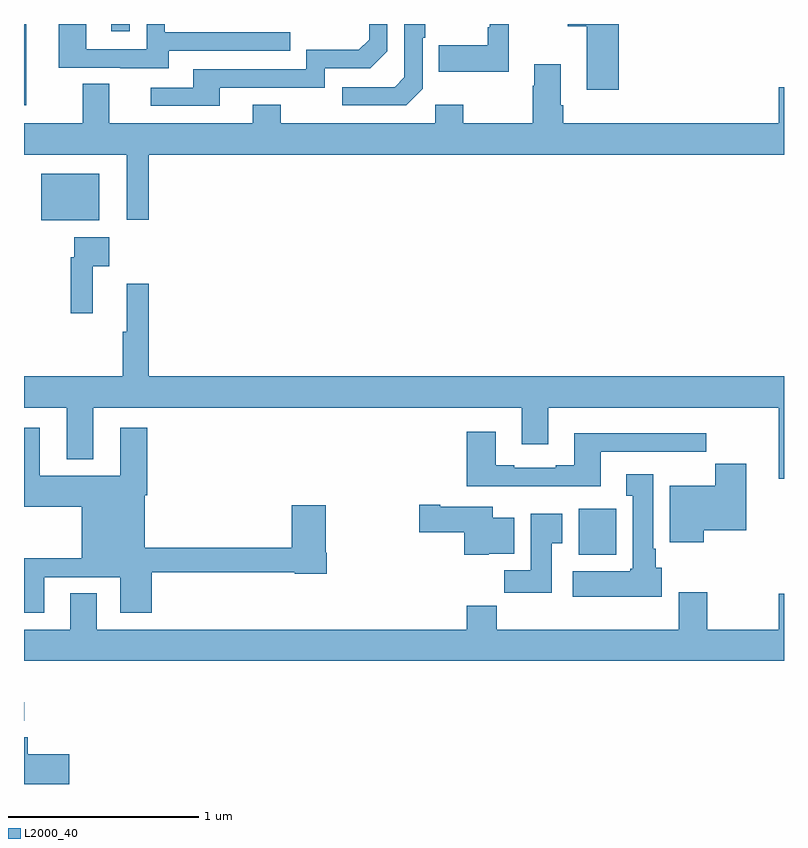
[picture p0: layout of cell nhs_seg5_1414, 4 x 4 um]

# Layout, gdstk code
import gdstk
lib = gdstk.Library(unit=1e-6, precision=1e-09)
def R(c, l, rs):  # rectangles x0, y0, x1, y1
    for r in rs: c.add(gdstk.rectangle(r[:2], r[2:], *l))
def P(c, l, *ps):  # polygons
    for p in ps: c.add(gdstk.Polygon(p, *l))
L2000_40 = (2000, 40)

nhs_seg5_1414 = lib.new_cell('nhs_seg5_1414')
R(nhs_seg5_1414, L2000_40, [(197,835.131,197.002,835.23), (199.919,836.006,200.116,836.248), (197.09,837.767,197.395,838.012), (197,838.371,197.011,838.799), (197.459,838.761,197.556,838.799)])
P(nhs_seg5_1414, L2000_40, [(199.098,838.458),(199.098,838.727),(199.111,838.727),(199.111,838.799),(199.002,838.799),(199.002,838.518),(198.951,838.467),(198.675,838.467),(198.675,838.371),(199.011,838.371)],
  [(197.761,838.659),(198.401,838.659),(198.401,838.755),(197.742,838.755),(197.742,838.799),(197.646,838.799),(197.646,838.665),(197.328,838.665),(197.328,838.799),(197.183,838.799),(197.183,838.569),(197.507,838.569),(197.507,838.565),(197.761,838.565)],
  [(200.129,838.799),(199.862,838.799),(199.862,838.787),(199.961,838.787),(199.961,838.452),(200.129,838.452)],
  [(198.031,838.464),(198.582,838.464),(198.582,838.566),(198.822,838.566),(198.912,838.656),(198.912,838.799),(198.816,838.799),(198.816,838.716),(198.763,838.663),(198.486,838.663),(198.486,838.56),(197.891,838.56),(197.891,838.464),(197.667,838.464),(197.667,838.368),(198.031,838.368)],
  [(199.55,838.799),(199.452,838.799),(199.452,838.783),(199.44,838.783),(199.44,838.687),(199.183,838.687),(199.183,838.547),(199.55,838.547)],
  [(197.657,838.112),(201,838.112),(201,838.465),(200.972,838.465),(200.972,838.276),(199.838,838.276),(199.838,838.372),(199.825,838.372),(199.825,838.588),(199.685,838.588),(199.685,838.475),(199.678,838.475),(199.678,838.276),(199.311,838.276),(199.311,838.375),(199.164,838.375),(199.164,838.276),(198.351,838.276),(198.351,838.375),(198.203,838.375),(198.203,838.276),(197.449,838.276),(197.449,838.484),(197.309,838.484),(197.309,838.276),(197,838.276),(197,838.112),(197.54,838.112),(197.54,837.768),(197.657,837.768)],
  [(197.363,837.524),(197.449,837.524),(197.449,837.676),(197.265,837.676),(197.265,837.572),(197.245,837.572),(197.245,837.276),(197.363,837.276)],
  [(201,836.944),(197.657,836.944),(197.657,837.433),(197.54,837.433),(197.54,837.18),(197.521,837.18),(197.521,836.944),(197,836.944),(197,836.78),(197.225,836.78),(197.225,836.507),(197.365,836.507),(197.365,836.78),(199.619,836.78),(199.619,836.586),(199.759,836.586),(199.759,836.78),(200.972,836.78),(200.972,836.406),(201,836.406)],
  [(197.107,835.887),(197.507,835.887),(197.507,835.701),(197.672,835.701),(197.672,835.914),(198.426,835.914),(198.426,835.906),(198.593,835.906),(198.593,836.017),(198.588,836.017),(198.588,836.266),(198.41,836.266),(198.41,836.042),(197.635,836.042),(197.635,836.318),(197.648,836.318),(197.648,836.674),(197.507,836.674),(197.507,836.422),(197.083,836.422),(197.083,836.674),(197,836.674),(197,836.258),(197.303,836.258),(197.303,835.988),(197,835.988),(197,835.701),(197.107,835.701)],
  [(200.035,836.547),(200.483,836.547),(200.483,836.549),(200.592,836.549),(200.592,836.644),(199.895,836.644),(199.895,836.476),(199.799,836.476),(199.799,836.463),(199.579,836.463),(199.579,836.476),(199.483,836.476),(199.483,836.653),(199.331,836.653),(199.331,836.366),(200.035,836.366)],
  [(200.578,836.135),(200.8,836.135),(200.8,836.484),(200.639,836.484),(200.639,836.368),(200.399,836.368),(200.399,836.072),(200.578,836.072)],
  [(200.356,835.938),(200.326,835.938),(200.326,836.038),(200.311,836.038),(200.311,836.428),(200.171,836.428),(200.171,836.315),(200.204,836.315),(200.204,835.932),(200.191,835.932),(200.191,835.918),(199.887,835.918),(199.887,835.784),(200.356,835.784)],
  [(199.446,836.012),(199.579,836.012),(199.579,836.2),(199.468,836.2),(199.468,836.257),(199.192,836.257),(199.192,836.27),(199.08,836.27),(199.08,836.123),(199.316,836.123),(199.316,836.006),(199.446,836.006)],
  [(199.777,836.065),(199.834,836.065),(199.834,836.221),(199.667,836.221),(199.667,835.924),(199.528,835.924),(199.528,835.806),(199.777,835.806)],
  [(201,835.801),(200.972,835.801),(200.972,835.612),(200.595,835.612),(200.595,835.807),(200.447,835.807),(200.447,835.612),(199.487,835.612),(199.487,835.736),(199.331,835.736),(199.331,835.612),(197.383,835.612),(197.383,835.802),(197.243,835.802),(197.243,835.612),(197,835.612),(197,835.448),(201,835.448)],
  [(197.239,834.956),(197.021,834.956),(197.021,835.046),(197,835.046),(197,834.799),(197.239,834.799)])

lib.write_gds('nhs_seg5_1414.gds')
